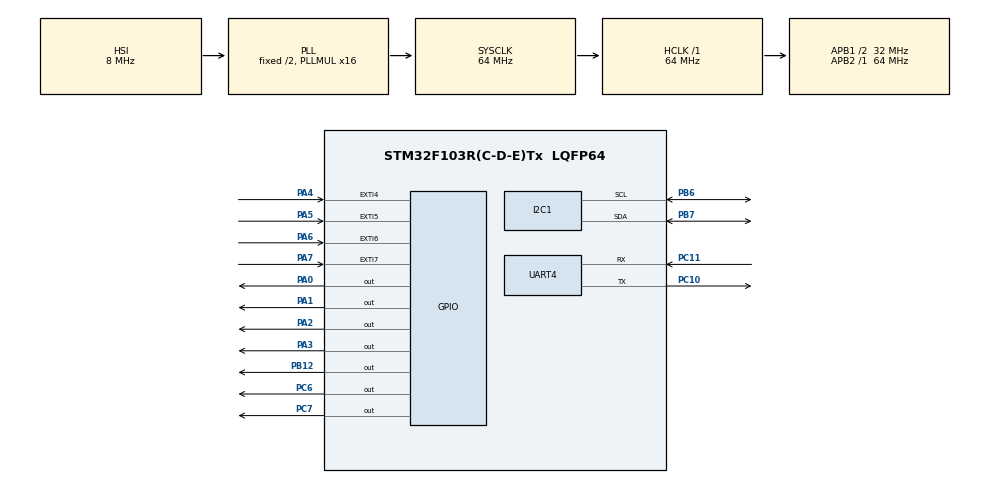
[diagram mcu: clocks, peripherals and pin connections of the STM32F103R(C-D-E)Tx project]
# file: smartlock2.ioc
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I2C1.I2C_Mode=I2C_Fast
Mcu.Family=STM32F1
Mcu.Name=STM32F103R(C-D-E)Tx
Mcu.Package=LQFP64
NVIC.EXTI4_IRQn=true\:0\:0\:false\:false\:true\:true
NVIC.EXTI9_5_IRQn=true\:0\:0\:false\:false\:true\:true
NVIC.PriorityGroup=NVIC_PRIORITYGROUP_4
NVIC.UART4_IRQn=true\:0\:0\:false\:false\:true\:true
PA0-WKUP.Signal=GPIO_Output
PA1.Signal=GPIO_Output
PA13.Mode=Serial_Wire
PA13.Signal=SYS_JTMS-SWDIO
PA14.Mode=Serial_Wire
PA14.Signal=SYS_JTCK-SWCLK
PA2.Signal=GPIO_Output
PA3.Signal=GPIO_Output
PA4.Signal=GPXTI4
PA5.Signal=GPXTI5
PA6.Signal=GPXTI6
PA7.Signal=GPXTI7
PB12.Signal=GPIO_Output
PB6.Mode=I2C
PB6.Signal=I2C1_SCL
PB7.Mode=I2C
PB7.Signal=I2C1_SDA
PC10.Mode=Asynchronous
PC10.Signal=UART4_TX
PC11.Mode=Asynchronous
PC11.Signal=UART4_RX
PC6.Signal=GPIO_Output
PC7.Signal=GPIO_Output
ProjectManager.HeapSize=0x200
ProjectManager.StackSize=0x400
ProjectManager.TargetToolchain=MDK-ARM V5
RCC.AHBFreq_Value=64000000
RCC.APB1CLKDivider=RCC_HCLK_DIV2
RCC.APB1Freq_Value=32000000
RCC.APB1TimFreq_Value=64000000
RCC.APB2Freq_Value=64000000
RCC.APB2TimFreq_Value=64000000
RCC.HCLKFreq_Value=64000000
RCC.PLLMUL=RCC_PLL_MUL16
RCC.SYSCLKFreq_VALUE=64000000
RCC.SYSCLKSource=RCC_SYSCLKSOURCE_PLLCLK
RCC.USBFreq_Value=64000000
UART4.VirtualMode=Asynchronous
board=custom

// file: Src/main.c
/**
  ******************************************************************************
  * @file           : main.c
  * @brief          : Main program body
  ******************************************************************************
  ** This notice applies to any and all portions of this file
  * that are not between comment pairs USER CODE BEGIN and
  * USER CODE END. Other portions of this file, whether
  * inserted by the user or by software development tools
  * are owned by their respective copyright owners.
  *
  * COPYRIGHT(c) 2019 STMicroelectronics
  *
  * Redistribution and use in source and binary forms, with or without modification,
  * are permitted provided that the following conditions are met:
  *   1. Redistributions of source code must retain the above copyright notice,
  *      this list of conditions and the following disclaimer.
  *   2. Redistributions in binary form must reproduce the above copyright notice,
  *      this list of conditions and the following disclaimer in the documentation
  *      and/or other materials provided with the distribution.
  *   3. Neither the name of STMicroelectronics nor the names of its contributors
  *      may be used to endorse or promote products derived from this software
  *      without specific prior written permission.
  *
  * THIS SOFTWARE IS PROVIDED BY THE COPYRIGHT HOLDERS AND CONTRIBUTORS "AS IS"
  * AND ANY EXPRESS OR IMPLIED WARRANTIES, INCLUDING, BUT NOT LIMITED TO, THE
  * IMPLIED WARRANTIES OF MERCHANTABILITY AND FITNESS FOR A PARTICULAR PURPOSE ARE
  * DISCLAIMED. IN NO EVENT SHALL THE COPYRIGHT HOLDER OR CONTRIBUTORS BE LIABLE
  * FOR ANY DIRECT, INDIRECT, INCIDENTAL, SPECIAL, EXEMPLARY, OR CONSEQUENTIAL
  * DAMAGES (INCLUDING, BUT NOT LIMITED TO, PROCUREMENT OF SUBSTITUTE GOODS OR
  * SERVICES; LOSS OF USE, DATA, OR PROFITS; OR BUSINESS INTERRUPTION) HOWEVER
  * CAUSED AND ON ANY THEORY OF LIABILITY, WHETHER IN CONTRACT, STRICT LIABILITY,
  * OR TORT (INCLUDING NEGLIGENCE OR OTHERWISE) ARISING IN ANY WAY OUT OF THE USE
  * OF THIS SOFTWARE, EVEN IF ADVISED OF THE POSSIBILITY OF SUCH DAMAGE.
  *
  ******************************************************************************
  */
#include "main.h"
#include "stm32f1xx_hal.h"

/* USER CODE BEGIN Includes */
#include<string.h>
#include "OLED.h"
#include "keyboard.h"
/* USER CODE END Includes */

I2C_HandleTypeDef hi2c1;

UART_HandleTypeDef huart4;

/* USER CODE BEGIN PV */
/* Private variables ---------------------------------------------------------*/
#define MAIN_MENU 0
#define INSERT_MENU 1
#define TIPS_MENU 2

/* USER CODE END PV */

void SystemClock_Config(void);
static void MX_GPIO_Init(void);
static void MX_UART4_Init(void);
static void MX_I2C1_Init(void);

/* USER CODE BEGIN PFP */
/* Private function prototypes -----------------------------------------------*/

/* USER CODE END PFP */

/* USER CODE BEGIN 0 */

char rxdata[1];                     //接收当个数据
char mydata[64];                   //保存接收连续数据
int year=19,month=7,day=14,hour=10,min=17,sec=0;
char code[16];
char mypassword[6]="123456";         //原密码
char password[6];                    //保存登陆的密码
char cmd[64];                        //保存命令
int pos = 0;
int flags=0;        //标志位
uint16_t ret=0;
char tipsbuf[16];
int keyflag=0;
char keyvalue;             //保存输入的按键值
char admin[5]="admin";       //系统默认管理身份
char code[16];               // 保存输出信息
char tipsbuf[16];            //
char datebuf[16];            //保存日期
char timebuf[16];            //保存时间
char datetimebuf[16];

void HAL_GPIO_EXTI_Callback(uint16_t GPIO_Pin)       //按键输入
{
	static int pre_ticks=0;

	int ticks=HAL_GetTick();
  if(ticks-pre_ticks <300 ){
        return;
    }
    pre_ticks = ticks;

		keyvalue = Get_KeyNum(GPIO_Pin);
    if(keyvalue >='0'&& keyvalue <='9'){
			  OLED_CLS();
        flags =INSERT_MENU;
        code[pos] = '*';
        password[pos] = keyvalue;
        pos++;
    }

    if(keyvalue=='E'){
			  OLED_CLS();
			  if(strlen(password) != 6 )
				{
					HAL_GPIO_WritePin(GPIOC,GPIO_PIN_6,GPIO_PIN_RESET);
					HAL_GPIO_WritePin(GPIOC,GPIO_PIN_7,GPIO_PIN_SET);
					flags=TIPS_MENU;
					strcpy(tipsbuf,"6 numbers Required");
					memset(code,0,sizeof(code));
          memset(password,0,sizeof(password));
          pos = 0;
				}else{
					ret = strncmp(mypassword,password,6);
          if(ret==0){
						HAL_GPIO_WritePin(GPIOB,GPIO_PIN_12,GPIO_PIN_RESET);

						HAL_GPIO_WritePin(GPIOC,GPIO_PIN_6,GPIO_PIN_SET);
						HAL_GPIO_WritePin(GPIOC,GPIO_PIN_7,GPIO_PIN_RESET);
            flags=TIPS_MENU;
            strcpy(tipsbuf,"lock success");
						memset(code,0,sizeof(code));
            memset(password,0,sizeof(password));
            pos = 0;
          }else {
						HAL_GPIO_WritePin(GPIOC,GPIO_PIN_7,GPIO_PIN_SET);
					  HAL_GPIO_WritePin(GPIOC,GPIO_PIN_6,GPIO_PIN_RESET);
            flags = TIPS_MENU;
            strcpy(tipsbuf,"lock failed");
					  memset(code,0,sizeof(code));
            memset(password,0,sizeof(password));
            pos = 0;
        }
			}
    }

    if(keyvalue == 'Q'){
			  OLED_CLS();
			  HAL_GPIO_WritePin(GPIOB,GPIO_PIN_12,GPIO_PIN_SET);
			  HAL_GPIO_WritePin(GPIOC,GPIO_PIN_7,GPIO_PIN_SET);
				HAL_GPIO_WritePin(GPIOC,GPIO_PIN_6,GPIO_PIN_SET);
        flags = MAIN_MENU;
			  memset(code,0,sizeof(code));
        memset(password,0,sizeof(password));
       pos = 0;
   }
}

void reset(void)     //清空接收数据的数组
{
	memset(mydata,0,sizeof(mydata));
	pos=0;
}

void rightlight(void)   //设置绿灯亮
{
	HAL_GPIO_WritePin(GPIOC,GPIO_PIN_7,GPIO_PIN_RESET);
	HAL_GPIO_WritePin(GPIOC,GPIO_PIN_6,GPIO_PIN_SET);
}

void  wronglight(void)   //设置红灯亮
{
	HAL_GPIO_WritePin(GPIOC,GPIO_PIN_7,GPIO_PIN_SET);
	HAL_GPIO_WritePin(GPIOC,GPIO_PIN_6,GPIO_PIN_RESET);
}

char buf[16];
void SetDateTime(char *ptchar,int i)    //设置时间
{
	int temp=0;
	char datetime[20];
	int myresult[6];
	memset(datetime,0,sizeof(datetime));
  ptchar=strstr(mydata,"datetime=");
	ptchar=ptchar+strlen("datetime=");
	while(*ptchar !=',' && *ptchar!=';')
  {
			datetime[i]=*ptchar;
			ptchar++;
			i++;
	}
	int m= 0;
	for (int j = 0; j < strlen(datetime); j++)
	{
		if (datetime[j] != '-')
		{
			temp = temp * 10 + datetime[j] - '0';
		}else
		{
			myresult[m] = temp;
			temp = 0;
			m++;
		}
	}
	reset();
}

char insertpass[16];                  //保存新输入的密码
char resetpass[6];                    //保存新设置的密码
char config[5];                       //保存配置用户名
void SetPassWord(char *ptchar,int i)   //设置密码
{
	    char config[5];
	    flags = TIPS_MENU;
			memset(config,0,sizeof(config));
			ptchar=strstr(mydata,"id=");
		  ptchar=ptchar+strlen("id=");
		  while(*ptchar !=',' && *ptchar!=';')
		  {
			  config[i]=*ptchar;
			  ptchar++;
			  i++;
		  }
			if(strncmp(config,admin,5)==0)  //如果用户名正确，就能设置密码
			{
				i=0;
			  memset(insertpass,0,sizeof(insertpass));
		    ptchar=strstr(mydata,"password=");
		    ptchar=ptchar+strlen("pwssword=");
		    while(*ptchar !=',' && *ptchar!=';')
		    {
			     insertpass[i]=*ptchar;
			     ptchar++;
			     i++;
		    }
			  if(strlen(insertpass)==6)
			  {
				  i=0;
				   memset(mypassword,0,sizeof(mypassword));
				   strcpy(mypassword,insertpass);
				   strcpy(tipsbuf,"pswd has set!");
				   reset();
           rightlight();
			   }else{
				   strcpy(tipsbuf,"6 num required!");
				   reset();
				   wronglight();
			   }
	     }else{
		     strcpy(tipsbuf,"id wrong!");
	       memset(mydata,0,sizeof(mydata));
		     pos=0;
         wronglight();
	     }
}

void Unlock(char *ptchar,int i)   //解锁
{
	 flags = TIPS_MENU;
	 memset(insertpass,0,sizeof(insertpass));
	 ptchar=strstr(mydata,"keypass=");
	 ptchar=ptchar+strlen("keypass=");
	 while(*ptchar !=',' && *ptchar!=';')
		{
			 insertpass[i]=*ptchar;
			 ptchar++;
			 i++;
		}
		if(strncmp(insertpass,mypassword,6)==0)
		{
				rightlight();
			  HAL_GPIO_WritePin(GPIOB,GPIO_PIN_12,GPIO_PIN_RESET);
				strcpy(tipsbuf,"lock success");
		}else{
				strcpy(tipsbuf,"lock failed");
				wronglight();
		}
		reset();
}

void RestPassWord(char *ptchar,int i)   //重设密码
{
	/*先验证密码是否正确*/
	flags = TIPS_MENU;
	memset(insertpass,0,sizeof(insertpass));
	ptchar=strstr(mydata,"keypass=");
	ptchar=ptchar+strlen("keypass=");
	while(*ptchar !=',' && *ptchar!=';')
	{
			insertpass[i]=*ptchar;
			ptchar++;
			i++;
	}
	if(strncmp(insertpass,mypassword,strlen(mypassword))==0)
	{
			i=0;
			memset(resetpass,0,sizeof(resetpass));
		  ptchar=strstr(mydata,"newpass=");
		  ptchar=ptchar+strlen("newpass=");
		  while(*ptchar !=',' && *ptchar!=';')
		  {
			   resetpass[i]=*ptchar;
			   ptchar++;
			   i++;
		  }
			if(strlen(resetpass)==6)
			{
				 memset(mypassword,0,sizeof(mypassword));
				 strcpy(mypassword,resetpass);
				 HAL_UART_Transmit(&huart4,mypassword,strlen(mypassword),100);
				 strcpy(tipsbuf,"pswd has changed!");
				 rightlight();
			}else{
				 wronglight();
				 strcpy(tipsbuf,"6 num required!");
			}
	}else{
			wronglight();
			strcpy(tipsbuf,"wrong passwd!");
		  }
  reset();
}

void HAL_UART_RxCpltCallback(UART_HandleTypeDef *huart)    //串口中断接收数据
{

	int i=0;
	char *ptchar;
	mydata[pos]=rxdata[0];
	pos++;
	if(rxdata[0]==';')
	{

		/*设置时间*/
		if(strstr(mydata,"setdatetime")!=NULL)
		{
			//memset(time,0,sizeof(time));
			 SetDateTime(ptchar,i);
		}
		/*设置初始密码*/
		 else if(strstr(mydata,"setpassword")!=NULL)
		 {
			 SetPassWord(ptchar,i);
		 }else if(strstr(mydata,"resetpass")!=NULL )   //修改密码
		  {
			  RestPassWord(ptchar,i);
	    }else if(strstr(mydata,"unlock")!=NULL)  //解锁
		   {
			  Unlock(ptchar,i);
			 }else if(strstr(mydata,"lock")!=NULL)
		    {
			    wronglight();
			    HAL_GPIO_WritePin(GPIOB,GPIO_PIN_12,GPIO_PIN_SET);
			    reset();
		    }
   }
	HAL_UART_Receive_IT(&huart4,rxdata,1);
}

void main_menu_flash(void)
{
	HAL_GPIO_WritePin(GPIOB,GPIO_PIN_12,GPIO_PIN_SET);
	HAL_GPIO_WritePin(GPIOC,GPIO_PIN_7,GPIO_PIN_SET);
	HAL_GPIO_WritePin(GPIOC,GPIO_PIN_6,GPIO_PIN_SET);
	HAL_Delay(1000);
	sec++;
    if(sec==60){
        sec=0;
			   min++;
		}
     if(min==60){
        min=0;
        hour++;
		 }
     if(hour==12)
		 {
			 hour=0;
		 }
	sprintf(datebuf,"%d-%d-%d",year,month,day);
	sprintf(timebuf,"%d:%d:%d",hour,min,sec);
	OLED_ShowStr(0,0,(uint8_t *)datebuf,CODE8X16);
	OLED_ShowStr(0,16,(uint8_t *)timebuf,CODE8X16);
	OLED_ShowStr(0,32,(uint8_t *)"smart lock!",CODE8X16);
	fflash();
}

void insert_menu_flash(void)
{
	OLED_ShowStr(0,0,(uint8_t *)"please ins psd:",CODE8X16);
	OLED_ShowStr(0,16,(uint8_t *)code,CODE8X16);
	fflash();
}

void tips_menu_flah(void)
{

	OLED_CLS();
	OLED_ShowStr(0,0,(uint8_t *)tipsbuf,CODE8X16);
	//HAL_Delay(2*1000);
	fflash();
}

/* USER CODE END 0 */

int main(void)
{

  /* MCU Configuration----------------------------------------------------------*/

  /* Reset of all peripherals, Initializes the Flash interface and the Systick. */
  HAL_Init();

  /* Configure the system clock */
  SystemClock_Config();

  /* Initialize all configured peripherals */
  MX_GPIO_Init();
  MX_UART4_Init();
  MX_I2C1_Init();
  /* USER CODE BEGIN 2 */
  HAL_UART_Receive_IT(&huart4,rxdata,1);

	HAL_GPIO_WritePin(GPIOC,GPIO_PIN_7,GPIO_PIN_SET);
	HAL_GPIO_WritePin(GPIOC,GPIO_PIN_6,GPIO_PIN_SET);

  OLED_Init();
	OLED_CLS_FLASH();
	OLED_CLS();
	Key_Bord_Init();

	HAL_GPIO_WritePin(GPIOB,GPIO_PIN_12,GPIO_PIN_SET);
	//HAL_TIM_PWM_Start(&htim2,TIM_CHANNEL_1);
  /* USER CODE END 2 */

  /* Infinite loop */
    while (1)
  {

  /* USER CODE BEGIN 3 */
  switch(flags)
	{
		case MAIN_MENU:
		     main_menu_flash();break;
		case INSERT_MENU:
		     insert_menu_flash();break;
		case TIPS_MENU:
			   tips_menu_flah();
		     HAL_Delay(3*1000);
		     OLED_CLS();
         flags = MAIN_MENU;
         break;
		default:main_menu_flash();break;
	}
  }
  /* USER CODE END 3 */

}

void SystemClock_Config(void)
{

  RCC_OscInitTypeDef RCC_OscInitStruct;
  RCC_ClkInitTypeDef RCC_ClkInitStruct;

    /**Initializes the CPU, AHB and APB busses clocks
    */
  RCC_OscInitStruct.OscillatorType = RCC_OSCILLATORTYPE_HSI;
  RCC_OscInitStruct.HSIState = RCC_HSI_ON;
  RCC_OscInitStruct.HSICalibrationValue = 16;
  RCC_OscInitStruct.PLL.PLLState = RCC_PLL_ON;
  RCC_OscInitStruct.PLL.PLLSource = RCC_PLLSOURCE_HSI_DIV2;
  RCC_OscInitStruct.PLL.PLLMUL = RCC_PLL_MUL16;
  if (HAL_RCC_OscConfig(&RCC_OscInitStruct) != HAL_OK)
  {
    _Error_Handler(__FILE__, __LINE__);
  }

    /**Initializes the CPU, AHB and APB busses clocks
    */
  RCC_ClkInitStruct.ClockType = RCC_CLOCKTYPE_HCLK|RCC_CLOCKTYPE_SYSCLK
                              |RCC_CLOCKTYPE_PCLK1|RCC_CLOCKTYPE_PCLK2;
  RCC_ClkInitStruct.SYSCLKSource = RCC_SYSCLKSOURCE_PLLCLK;
  RCC_ClkInitStruct.AHBCLKDivider = RCC_SYSCLK_DIV1;
  RCC_ClkInitStruct.APB1CLKDivider = RCC_HCLK_DIV2;
  RCC_ClkInitStruct.APB2CLKDivider = RCC_HCLK_DIV1;

  if (HAL_RCC_ClockConfig(&RCC_ClkInitStruct, FLASH_LATENCY_2) != HAL_OK)
  {
    _Error_Handler(__FILE__, __LINE__);
  }

    /**Configure the Systick interrupt time
    */
  HAL_SYSTICK_Config(HAL_RCC_GetHCLKFreq()/1000);

    /**Configure the Systick
    */
  HAL_SYSTICK_CLKSourceConfig(SYSTICK_CLKSOURCE_HCLK);

  /* SysTick_IRQn interrupt configuration */
  HAL_NVIC_SetPriority(SysTick_IRQn, 0, 0);
}

/* I2C1 init function */
static void MX_I2C1_Init(void)
{

  hi2c1.Instance = I2C1;
  hi2c1.Init.ClockSpeed = 400000;
  hi2c1.Init.DutyCycle = I2C_DUTYCYCLE_2;
  hi2c1.Init.OwnAddress1 = 0;
  hi2c1.Init.AddressingMode = I2C_ADDRESSINGMODE_7BIT;
  hi2c1.Init.DualAddressMode = I2C_DUALADDRESS_DISABLE;
  hi2c1.Init.OwnAddress2 = 0;
  hi2c1.Init.GeneralCallMode = I2C_GENERALCALL_DISABLE;
  hi2c1.Init.NoStretchMode = I2C_NOSTRETCH_DISABLE;
  if (HAL_I2C_Init(&hi2c1) != HAL_OK)
  {
    _Error_Handler(__FILE__, __LINE__);
  }

}

/* UART4 init function */
static void MX_UART4_Init(void)
{

  huart4.Instance = UART4;
  huart4.Init.BaudRate = 115200;
  huart4.Init.WordLength = UART_WORDLENGTH_8B;
  huart4.Init.StopBits = UART_STOPBITS_1;
  huart4.Init.Parity = UART_PARITY_NONE;
  huart4.Init.Mode = UART_MODE_TX_RX;
  huart4.Init.HwFlowCtl = UART_HWCONTROL_NONE;
  huart4.Init.OverSampling = UART_OVERSAMPLING_16;
  if (HAL_UART_Init(&huart4) != HAL_OK)
  {
    _Error_Handler(__FILE__, __LINE__);
  }

}

/** Configure pins as
        * Analog
        * Input
        * Output
        * EVENT_OUT
        * EXTI
*/
static void MX_GPIO_Init(void)
{

  GPIO_InitTypeDef GPIO_InitStruct;

  /* GPIO Ports Clock Enable */
  __HAL_RCC_GPIOA_CLK_ENABLE();
  __HAL_RCC_GPIOB_CLK_ENABLE();
  __HAL_RCC_GPIOC_CLK_ENABLE();

  /*Configure GPIO pin Output Level */
  HAL_GPIO_WritePin(GPIOA, GPIO_PIN_0|GPIO_PIN_1|GPIO_PIN_2|GPIO_PIN_3, GPIO_PIN_RESET);

  /*Configure GPIO pin Output Level */
  HAL_GPIO_WritePin(GPIOB, GPIO_PIN_12, GPIO_PIN_RESET);

  /*Configure GPIO pin Output Level */
  HAL_GPIO_WritePin(GPIOC, GPIO_PIN_6|GPIO_PIN_7, GPIO_PIN_RESET);

  /*Configure GPIO pins : PA0 PA1 PA2 PA3 */
  GPIO_InitStruct.Pin = GPIO_PIN_0|GPIO_PIN_1|GPIO_PIN_2|GPIO_PIN_3;
  GPIO_InitStruct.Mode = GPIO_MODE_OUTPUT_PP;
  GPIO_InitStruct.Pull = GPIO_NOPULL;
  GPIO_InitStruct.Speed = GPIO_SPEED_FREQ_LOW;
  HAL_GPIO_Init(GPIOA, &GPIO_InitStruct);

  /*Configure GPIO pins : PA4 PA5 PA6 PA7 */
  GPIO_InitStruct.Pin = GPIO_PIN_4|GPIO_PIN_5|GPIO_PIN_6|GPIO_PIN_7;
  GPIO_InitStruct.Mode = GPIO_MODE_IT_RISING;
  GPIO_InitStruct.Pull = GPIO_NOPULL;
  HAL_GPIO_Init(GPIOA, &GPIO_InitStruct);

  /*Configure GPIO pin : PB12 */
  GPIO_InitStruct.Pin = GPIO_PIN_12;
  GPIO_InitStruct.Mode = GPIO_MODE_OUTPUT_PP;
  GPIO_InitStruct.Pull = GPIO_NOPULL;
  GPIO_InitStruct.Speed = GPIO_SPEED_FREQ_LOW;
  HAL_GPIO_Init(GPIOB, &GPIO_InitStruct);

  /*Configure GPIO pins : PC6 PC7 */
  GPIO_InitStruct.Pin = GPIO_PIN_6|GPIO_PIN_7;
  GPIO_InitStruct.Mode = GPIO_MODE_OUTPUT_PP;
  GPIO_InitStruct.Pull = GPIO_NOPULL;
  GPIO_InitStruct.Speed = GPIO_SPEED_FREQ_LOW;
  HAL_GPIO_Init(GPIOC, &GPIO_InitStruct);

  /* EXTI interrupt init*/
  HAL_NVIC_SetPriority(EXTI4_IRQn, 0, 0);
  HAL_NVIC_EnableIRQ(EXTI4_IRQn);

  HAL_NVIC_SetPriority(EXTI9_5_IRQn, 0, 0);
  HAL_NVIC_EnableIRQ(EXTI9_5_IRQn);

}

void _Error_Handler(char *file, int line)
{
  while(1)
  {
  }
}

/************************ (C) COPYRIGHT STMicroelectronics *****END OF FILE****/
